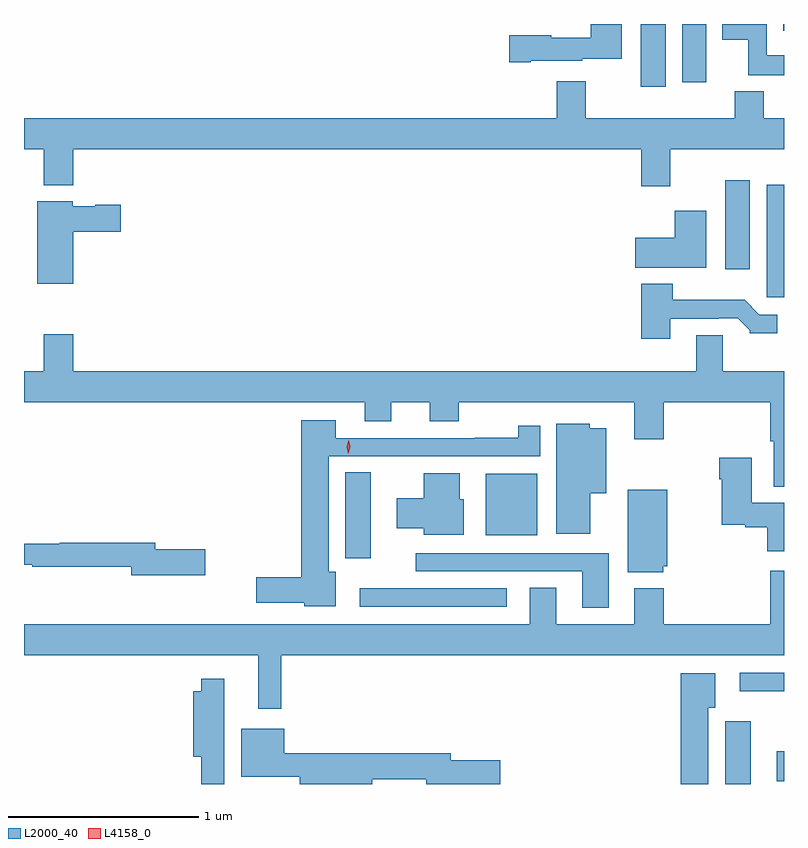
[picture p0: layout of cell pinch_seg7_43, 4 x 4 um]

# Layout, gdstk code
import gdstk
lib = gdstk.Library(unit=1e-6, precision=1e-09)
def R(c, l, rs):  # rectangles x0, y0, x1, y1
    for r in rs: c.add(gdstk.rectangle(r[:2], r[2:], *l))
def P(c, l, *ps):  # polygons
    for p in ps: c.add(gdstk.Polygon(p, *l))
L2000_40 = (2000, 40)
L4158_0 = (4158, 0)

pinch_seg7_43 = lib.new_cell('pinch_seg7_43')
R(pinch_seg7_43, L2000_40, [(1020.062,1063.875,1020.196,1064.206), (1020.333,1063.889,1020.372,1064.047), (1020.138,1064.364,1020.372,1064.46), (1018.14,1064.808,1018.912,1064.904), (1018.064,1065.063,1018.198,1065.515), (1018.802,1065.185,1019.074,1065.508), (1020.281,1066.437,1020.372,1067.029), (1020.062,1066.584,1020.193,1067.053), (1019.618,1067.544,1019.749,1067.875), (1019.837,1067.568,1019.962,1067.875), (1020.367,1067.84,1020.372,1067.875)])
P(pinch_seg7_43, L2000_40, [(1020.372,1067.71),(1020.282,1067.71),(1020.282,1067.875),(1020.047,1067.875),(1020.047,1067.792),(1020.184,1067.792),(1020.184,1067.606),(1020.372,1067.606)],
  [(1019.038,1067.681),(1019.31,1067.681),(1019.31,1067.693),(1019.518,1067.693),(1019.518,1067.875),(1019.356,1067.875),(1019.356,1067.803),(1019.148,1067.803),(1019.148,1067.816),(1018.926,1067.816),(1018.926,1067.674),(1019.038,1067.674)],
  [(1019.773,1067.216),(1020.372,1067.216),(1020.372,1067.38),(1020.265,1067.38),(1020.265,1067.521),(1020.113,1067.521),(1020.113,1067.38),(1019.329,1067.38),(1019.329,1067.575),(1019.177,1067.575),(1019.177,1067.38),(1016.372,1067.38),(1016.372,1067.216),(1016.477,1067.216),(1016.477,1067.027),(1016.63,1067.027),(1016.63,1067.216),(1019.621,1067.216),(1019.621,1067.022),(1019.773,1067.022)],
  [(1016.632,1066.781),(1016.881,1066.781),(1016.881,1066.923),(1016.748,1066.923),(1016.748,1066.915),(1016.628,1066.915),(1016.628,1066.942),(1016.441,1066.942),(1016.441,1066.508),(1016.632,1066.508)],
  [(1019.962,1066.891),(1019.798,1066.891),(1019.798,1066.75),(1019.589,1066.75),(1019.589,1066.592),(1019.962,1066.592)],
  [(1019.773,1066.323),(1020.029,1066.323),(1020.029,1066.326),(1020.128,1066.326),(1020.192,1066.262),(1020.192,1066.247),(1020.337,1066.247),(1020.337,1066.344),(1020.243,1066.344),(1020.165,1066.423),(1019.786,1066.423),(1019.786,1066.507),(1019.621,1066.507),(1019.621,1066.218),(1019.773,1066.218)],
  [(1020.372,1066.048),(1020.049,1066.048),(1020.049,1066.238),(1019.909,1066.238),(1019.909,1066.048),(1016.63,1066.048),(1016.63,1066.243),(1016.477,1066.243),(1016.477,1066.048),(1016.372,1066.048),(1016.372,1065.884),(1018.166,1065.884),(1018.166,1065.785),(1018.306,1065.785),(1018.306,1065.884),(1018.508,1065.884),(1018.508,1065.785),(1018.661,1065.785),(1018.661,1065.884),(1019.585,1065.884),(1019.585,1065.69),(1019.738,1065.69),(1019.738,1065.884),(1020.3,1065.884),(1020.3,1065.679),(1020.317,1065.679),(1020.317,1065.44),(1020.372,1065.44)],
  [(1018.012,1064.992),(1017.976,1064.992),(1017.976,1065.6),(1019.089,1065.6),(1019.089,1065.76),(1018.972,1065.76),(1018.972,1065.698),(1018.744,1065.698),(1018.744,1065.696),(1018.012,1065.696),(1018.012,1065.79),(1017.83,1065.79),(1017.83,1064.963),(1017.594,1064.963),(1017.594,1064.828),(1017.846,1064.828),(1017.846,1064.81),(1018.012,1064.81)],
  [(1019.353,1065.404),(1019.437,1065.404),(1019.437,1065.748),(1019.349,1065.748),(1019.349,1065.772),(1019.174,1065.772),(1019.174,1065.191),(1019.353,1065.191)],
  [(1020.372,1065.355),(1020.202,1065.355),(1020.202,1065.592),(1020.032,1065.592),(1020.032,1065.479),(1020.044,1065.479),(1020.044,1065.239),(1020.168,1065.239),(1020.168,1065.227),(1020.284,1065.227),(1020.284,1065.101),(1020.372,1065.101)],
  [(1018.687,1065.375),(1018.666,1065.375),(1018.666,1065.511),(1018.475,1065.511),(1018.475,1065.379),(1018.335,1065.379),(1018.335,1065.221),(1018.475,1065.221),(1018.475,1065.188),(1018.687,1065.188)],
  [(1019.736,1065.021),(1019.758,1065.021),(1019.758,1065.424),(1019.549,1065.424),(1019.549,1064.99),(1019.736,1064.99)],
  [(1017.325,1065.11),(1017.064,1065.11),(1017.064,1065.146),(1016.56,1065.146),(1016.56,1065.139),(1016.372,1065.139),(1016.372,1065.03),(1016.416,1065.03),(1016.416,1065.018),(1016.936,1065.018),(1016.936,1064.975),(1017.325,1064.975)],
  [(1019.449,1065.09),(1018.434,1065.09),(1018.434,1064.994),(1019.309,1064.994),(1019.309,1064.802),(1019.449,1064.802)],
  [(1016.372,1064.552),(1017.605,1064.552),(1017.605,1064.271),(1017.727,1064.271),(1017.727,1064.552),(1020.372,1064.552),(1020.372,1064.998),(1020.3,1064.998),(1020.3,1064.716),(1019.738,1064.716),(1019.738,1064.905),(1019.585,1064.905),(1019.585,1064.716),(1019.173,1064.716),(1019.173,1064.909),(1019.033,1064.909),(1019.033,1064.716),(1016.372,1064.716)],
  [(1019.974,1064.276),(1020.01,1064.276),(1020.01,1064.458),(1019.828,1064.458),(1019.828,1063.875),(1019.974,1063.875)],
  [(1017.427,1064.428),(1017.306,1064.428),(1017.306,1064.362),(1017.263,1064.362),(1017.263,1064.018),(1017.306,1064.018),(1017.306,1063.875),(1017.427,1063.875)],
  [(1018.204,1063.9),(1018.49,1063.9),(1018.49,1063.875),(1018.879,1063.875),(1018.879,1064),(1018.618,1064),(1018.618,1064.036),(1017.742,1064.036),(1017.742,1064.167),(1017.515,1064.167),(1017.515,1063.913),(1017.824,1063.913),(1017.824,1063.875),(1018.204,1063.875)])
P(pinch_seg7_43, L4158_0, [(1018.079,1065.613),(1018.079,1065.614),(1018.07,1065.65),(1018.082,1065.685),(1018.082,1065.685),(1018.082,1065.685),(1018.09,1065.649),(1018.079,1065.614)])

lib.write_gds('pinch_seg7_43.gds')
